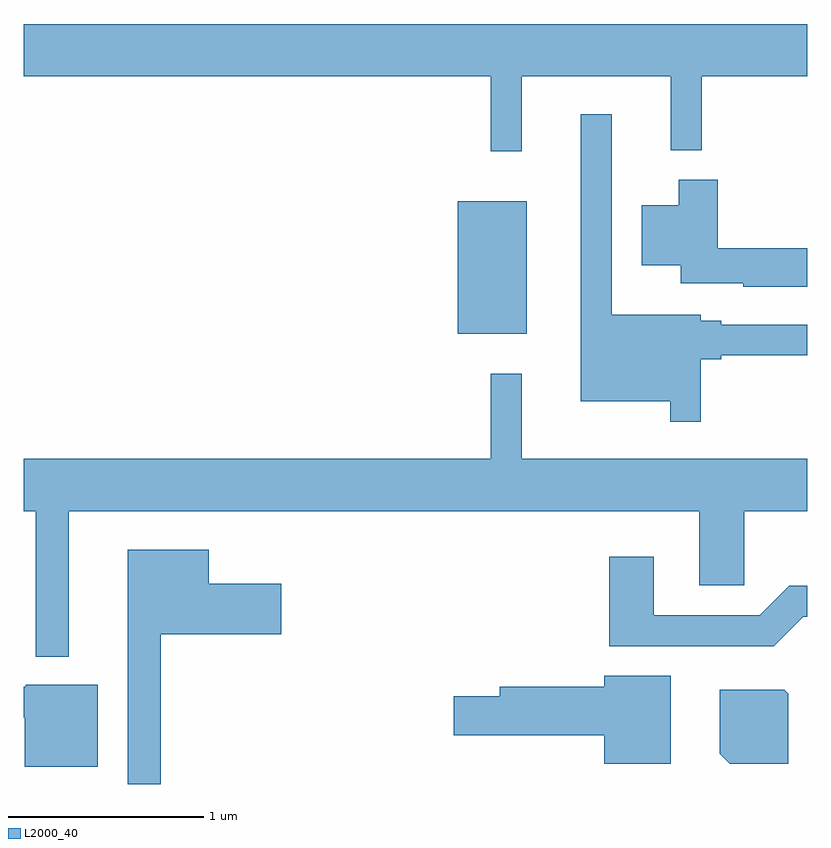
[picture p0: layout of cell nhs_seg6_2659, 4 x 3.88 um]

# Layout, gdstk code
import gdstk
lib = gdstk.Library(unit=1e-6, precision=1e-09)
def R(c, l, rs):  # rectangles x0, y0, x1, y1
    for r in rs: c.add(gdstk.rectangle(r[:2], r[2:], *l))
def P(c, l, *ps):  # polygons
    for p in ps: c.add(gdstk.Polygon(p, *l))
L2000_40 = (2000, 40)

nhs_seg6_2659 = lib.new_cell('nhs_seg6_2659')
R(nhs_seg6_2659, L2000_40, [(267.826,1586.461,268.179,1587.139)])
P(nhs_seg6_2659, L2000_40, [(268.154,1587.776),(268.916,1587.776),(268.916,1587.398),(269.074,1587.398),(269.074,1587.776),(269.611,1587.776),(269.611,1588.044),(265.611,1588.044),(265.611,1587.776),(267.996,1587.776),(267.996,1587.393),(268.154,1587.393)],
  [(269.069,1586.331),(269.174,1586.331),(269.174,1586.351),(269.611,1586.351),(269.611,1586.509),(269.174,1586.509),(269.174,1586.529),(269.069,1586.529),(269.069,1586.559),(268.614,1586.559),(268.614,1587.583),(268.456,1587.583),(268.456,1586.116),(268.911,1586.116),(268.911,1586.013),(269.069,1586.013)],
  [(269.611,1586.899),(269.154,1586.899),(269.154,1587.249),(268.956,1587.249),(268.956,1587.119),(268.766,1587.119),(268.766,1586.811),(268.966,1586.811),(268.966,1586.721),(269.286,1586.721),(269.286,1586.701),(269.611,1586.701)],
  [(265.839,1585.556),(269.061,1585.556),(269.061,1585.176),(269.289,1585.176),(269.289,1585.556),(269.611,1585.556),(269.611,1585.824),(268.154,1585.824),(268.154,1586.258),(267.996,1586.258),(267.996,1585.824),(265.611,1585.824),(265.611,1585.556),(265.671,1585.556),(265.671,1584.813),(265.839,1584.813)],
  [(266.309,1584.926),(266.924,1584.926),(266.924,1585.184),(266.554,1585.184),(266.554,1585.359),(266.141,1585.359),(266.141,1584.162),(266.309,1584.162)],
  [(269.592,1585.016),(269.611,1585.016),(269.611,1585.174),(269.519,1585.174),(269.369,1585.024),(268.829,1585.024),(268.829,1585.324),(268.601,1585.324),(268.601,1584.866),(269.442,1584.866)],
  [(268.914,1584.714),(268.576,1584.714),(268.576,1584.659),(268.041,1584.659),(268.041,1584.609),(267.806,1584.609),(267.806,1584.411),(268.576,1584.411),(268.576,1584.266),(268.914,1584.266)],
  [(265.989,1584.669),(265.62,1584.669),(265.62,1584.659),(265.611,1584.659),(265.611,1584.501),(265.616,1584.501),(265.616,1584.251),(265.989,1584.251)],
  [(269.514,1584.624),(269.494,1584.644),(269.166,1584.644),(269.166,1584.317),(269.217,1584.266),(269.514,1584.266)])

lib.write_gds('nhs_seg6_2659.gds')
